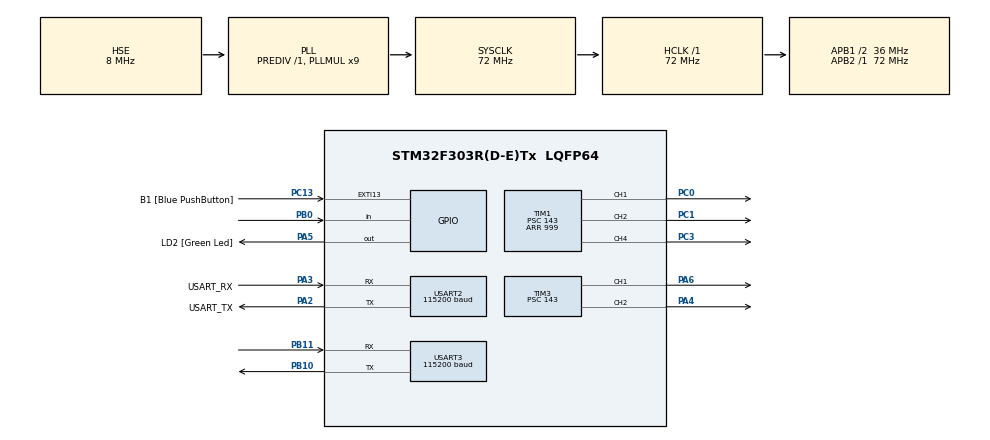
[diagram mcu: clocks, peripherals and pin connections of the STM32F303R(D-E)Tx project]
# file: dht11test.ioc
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Mcu.Family=STM32F3
Mcu.Name=STM32F303R(D-E)Tx
Mcu.Package=LQFP64
NVIC.PriorityGroup=NVIC_PRIORITYGROUP_0
NVIC.USART2_IRQn=true\:0\:0\:false\:false\:true\:true\:true
NVIC.USART3_IRQn=true\:0\:0\:false\:false\:true\:true\:true
PA13.GPIO_Label=TMS
PA13.Mode=Serial_Wire
PA13.Signal=SYS_JTMS-SWDIO
PA14.GPIO_Label=TCK
PA14.Mode=Serial_Wire
PA14.Signal=SYS_JTCK-SWCLK
PA2.GPIO_Label=USART_TX
PA2.GPIO_Mode=GPIO_MODE_AF_PP
PA2.GPIO_PuPd=GPIO_NOPULL
PA2.GPIO_Speed=GPIO_SPEED_FREQ_LOW
PA2.Mode=Asynchronous
PA2.Signal=USART2_TX
PA3.GPIO_Label=USART_RX
PA3.GPIO_Mode=GPIO_MODE_AF_PP
PA3.GPIO_PuPd=GPIO_NOPULL
PA3.GPIO_Speed=GPIO_SPEED_FREQ_LOW
PA3.Mode=Asynchronous
PA3.Signal=USART2_RX
PA4.Signal=S_TIM3_CH2
PA5.GPIO_Label=LD2 [Green Led]
PA5.GPIO_Mode=GPIO_MODE_OUTPUT_PP
PA5.GPIO_PuPd=GPIO_NOPULL
PA5.GPIO_Speed=GPIO_SPEED_FREQ_LOW
PA5.Signal=GPIO_Output
PA6.Signal=S_TIM3_CH1
PB0.Signal=GPIO_Input
PB10.Mode=Asynchronous
PB10.Signal=USART3_TX
PB11.Mode=Asynchronous
PB11.Signal=USART3_RX
PB3.GPIO_Label=SWO
PB3.Signal=SYS_JTDO-TRACESWO
PC0.Signal=S_TIM1_CH1
PC1.Signal=S_TIM1_CH2
PC13.GPIO_Label=B1 [Blue PushButton]
PC13.GPIO_ModeDefaultEXTI=GPIO_MODE_IT_FALLING
PC13.Signal=GPXTI13
PC14-OSC32_IN.Signal=RCC_OSC32_IN
PC15-OSC32_OUT.Signal=RCC_OSC32_OUT
PC3.Signal=S_TIM1_CH4
PF0-OSC_IN.Mode=HSE-External-Oscillator
PF0-OSC_IN.Signal=RCC_OSC_IN
PF1-OSC_OUT.Mode=HSE-External-Oscillator
PF1-OSC_OUT.Signal=RCC_OSC_OUT
ProjectManager.HeapSize=0x200
ProjectManager.StackSize=0x400
ProjectManager.TargetToolchain=SW4STM32
RCC.AHBFreq_Value=72000000
RCC.APB1CLKDivider=RCC_HCLK_DIV2
RCC.APB1Freq_Value=36000000
RCC.APB1TimFreq_Value=72000000
RCC.APB2Freq_Value=72000000
RCC.APB2TimFreq_Value=72000000
RCC.CortexFreq_Value=72000000
RCC.HCLKFreq_Value=72000000
RCC.HSE_VALUE=8000000
RCC.HSI_VALUE=8000000
RCC.LSE_VALUE=32768
RCC.PLLM=8
RCC.PLLMUL=RCC_PLL_MUL9
RCC.PLLN=336
RCC.PLLP=RCC_PLLP_DIV4
RCC.PLLQ=7
RCC.PLLSourceVirtual=RCC_PLLSOURCE_HSE
RCC.RCC_PLLsource_Clock_Source_FROM_HSE=RCC_HSE_PREDIV_DIV2
RCC.SYSCLKFreq_VALUE=72000000
RCC.SYSCLKSourceVirtual=RCC_SYSCLKSOURCE_PLLCLK
RCC.USBFreq_Value=72000000
SH.S_TIM1_CH1.0=TIM1_CH1,PWM Generation1 CH1
SH.S_TIM1_CH2.0=TIM1_CH2,PWM Generation2 CH2
SH.S_TIM1_CH4.0=TIM1_CH4,PWM Generation4 CH4
SH.S_TIM3_CH1.0=TIM3_CH1,PWM Generation1 CH1
SH.S_TIM3_CH2.0=TIM3_CH2,PWM Generation2 CH2
TIM1.Channel-PWM\ Generation1\ CH1=TIM_CHANNEL_1
TIM1.Channel-PWM\ Generation2\ CH2=TIM_CHANNEL_2
TIM1.Channel-PWM\ Generation4\ CH4=TIM_CHANNEL_4
TIM1.Period=999
TIM1.Prescaler=143
TIM3.Channel-PWM\ Generation1\ CH1=TIM_CHANNEL_1
TIM3.Channel-PWM\ Generation2\ CH2=TIM_CHANNEL_2
TIM3.Period=999
TIM3.Prescaler=143
USART2.BaudRate=115200
USART2.VirtualMode-Asynchronous=VM_ASYNC
USART3.BaudRate=115200
USART3.VirtualMode-Asynchronous=VM_ASYNC
board=NUCLEO-F303RE

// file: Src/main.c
/* USER CODE BEGIN Header */
/**
 ******************************************************************************
 * @file           : main.c
 * @brief          : Main program body
 ******************************************************************************
 * @attention
 *
 * <h2><center>&copy; Copyright (c) 2019 STMicroelectronics.
 * All rights reserved.</center></h2>
 *
 * This software component is licensed by ST under BSD 3-Clause license,
 * the "License"; You may not use this file except in compliance with the
 * License. You may obtain a copy of the License at:
 *                        opensource.org/licenses/BSD-3-Clause
 *
 ******************************************************************************
 */
/* USER CODE END Header */

#include "main.h"

/* USER CODE BEGIN Includes */
#include "stm32f3xx_hal.h"
#include "dwt_stm32_delay.h"
/* USER CODE END Includes */

TIM_HandleTypeDef htim1;
TIM_HandleTypeDef htim3;

UART_HandleTypeDef huart2;
UART_HandleTypeDef huart3;

/* USER CODE BEGIN PV */
uint8_t received;
uint8_t sensor_flag=1, engines_flag=0;//flaga pozwalajaca na wylaczenie odczytu z sensora 1 - odczyt wlaczony
uint16_t pwm_vf=750, pwm_vrl=750, pwm_vrr=750;//silniki pionowe PC0 PC1 PC3
uint16_t pwm_hl=750, pwm_hr=750;//silniki poziome PA4 PA6
uint8_t Rh_byte1, Rh_byte2, Temp_byte1, Temp_byte2;
uint16_t sum;
uint8_t check = 0;

GPIO_InitTypeDef GPIO_InitStruct;
/* USER CODE END PV */

void SystemClock_Config(void);
static void MX_GPIO_Init(void);
static void MX_USART2_UART_Init(void);
static void MX_TIM1_Init(void);
static void MX_TIM3_Init(void);
static void MX_USART3_UART_Init(void);
/* USER CODE BEGIN PFP */
void set_gpio_output (void);
void set_gpio_input (void);
void DHT11_start (void);
void check_response (void);
uint8_t read_data (void);
void send_char(char c);
int __io_putchar(int ch);
void HAL_UART_RxCpltCallback(UART_HandleTypeDef *huart);
void control_procedure(void);
void init_engines(void);
void set_engine_duty(uint8_t engine, uint16_t duty);
void manual(void);
void engines_manual(void);
void commands_manual(void);
void sensor_procedure(void);
void sensor_toggle(void);
void engines_stop(void);
void char_error(void);
/* USER CODE END PFP */

int main(void)
{

  /* MCU Configuration--------------------------------------------------------*/

  /* Reset of all peripherals, Initializes the Flash interface and the Systick. */
  HAL_Init();

  /* Configure the system clock */
  SystemClock_Config();

  /* Initialize all configured peripherals */
  MX_GPIO_Init();
  MX_USART2_UART_Init();
  MX_TIM1_Init();
  MX_TIM3_Init();
  MX_USART3_UART_Init();
  /* USER CODE BEGIN 2 */
	DWT_Delay_Init ();
	printf("Witaj w programie\n");
	manual();
	HAL_UART_Receive_IT(&huart2, &received, 1);
	HAL_UART_Receive_IT(&huart3, &received, 1);
	HAL_Delay (1000);
	init_engines();
  /* USER CODE END 2 */

  /* Infinite loop */
	while (1)
	{

    /* USER CODE BEGIN 3 */
		sensor_procedure();
		HAL_Delay(1200);
	}
  /* USER CODE END 3 */
}

void SystemClock_Config(void)
{
  RCC_OscInitTypeDef RCC_OscInitStruct = {0};
  RCC_ClkInitTypeDef RCC_ClkInitStruct = {0};
  RCC_PeriphCLKInitTypeDef PeriphClkInit = {0};

  /** Initializes the CPU, AHB and APB busses clocks
  */
  RCC_OscInitStruct.OscillatorType = RCC_OSCILLATORTYPE_HSE;
  RCC_OscInitStruct.HSEState = RCC_HSE_ON;
  RCC_OscInitStruct.HSIState = RCC_HSI_ON;
  RCC_OscInitStruct.PLL.PLLState = RCC_PLL_ON;
  RCC_OscInitStruct.PLL.PLLSource = RCC_PLLSOURCE_HSE;
  RCC_OscInitStruct.PLL.PLLMUL = RCC_PLL_MUL9;
  RCC_OscInitStruct.PLL.PREDIV = RCC_PREDIV_DIV1;
  if (HAL_RCC_OscConfig(&RCC_OscInitStruct) != HAL_OK)
  {
    Error_Handler();
  }
  /** Initializes the CPU, AHB and APB busses clocks
  */
  RCC_ClkInitStruct.ClockType = RCC_CLOCKTYPE_HCLK|RCC_CLOCKTYPE_SYSCLK
                              |RCC_CLOCKTYPE_PCLK1|RCC_CLOCKTYPE_PCLK2;
  RCC_ClkInitStruct.SYSCLKSource = RCC_SYSCLKSOURCE_PLLCLK;
  RCC_ClkInitStruct.AHBCLKDivider = RCC_SYSCLK_DIV1;
  RCC_ClkInitStruct.APB1CLKDivider = RCC_HCLK_DIV2;
  RCC_ClkInitStruct.APB2CLKDivider = RCC_HCLK_DIV1;

  if (HAL_RCC_ClockConfig(&RCC_ClkInitStruct, FLASH_LATENCY_2) != HAL_OK)
  {
    Error_Handler();
  }
  PeriphClkInit.PeriphClockSelection = RCC_PERIPHCLK_USART2|RCC_PERIPHCLK_USART3
                              |RCC_PERIPHCLK_TIM1|RCC_PERIPHCLK_TIM34;
  PeriphClkInit.Usart2ClockSelection = RCC_USART2CLKSOURCE_PCLK1;
  PeriphClkInit.Usart3ClockSelection = RCC_USART3CLKSOURCE_PCLK1;
  PeriphClkInit.Tim1ClockSelection = RCC_TIM1CLK_HCLK;
  PeriphClkInit.Tim34ClockSelection = RCC_TIM34CLK_HCLK;
  if (HAL_RCCEx_PeriphCLKConfig(&PeriphClkInit) != HAL_OK)
  {
    Error_Handler();
  }
}

static void MX_TIM1_Init(void)
{

  TIM_MasterConfigTypeDef sMasterConfig = {0};
  TIM_OC_InitTypeDef sConfigOC = {0};
  TIM_BreakDeadTimeConfigTypeDef sBreakDeadTimeConfig = {0};

  htim1.Instance = TIM1;
  htim1.Init.Prescaler = 143;
  htim1.Init.CounterMode = TIM_COUNTERMODE_UP;
  htim1.Init.Period = 999;
  htim1.Init.ClockDivision = TIM_CLOCKDIVISION_DIV1;
  htim1.Init.RepetitionCounter = 0;
  htim1.Init.AutoReloadPreload = TIM_AUTORELOAD_PRELOAD_DISABLE;
  if (HAL_TIM_PWM_Init(&htim1) != HAL_OK)
  {
    Error_Handler();
  }
  sMasterConfig.MasterOutputTrigger = TIM_TRGO_RESET;
  sMasterConfig.MasterOutputTrigger2 = TIM_TRGO2_RESET;
  sMasterConfig.MasterSlaveMode = TIM_MASTERSLAVEMODE_DISABLE;
  if (HAL_TIMEx_MasterConfigSynchronization(&htim1, &sMasterConfig) != HAL_OK)
  {
    Error_Handler();
  }
  sConfigOC.OCMode = TIM_OCMODE_PWM1;
  sConfigOC.Pulse = 0;
  sConfigOC.OCPolarity = TIM_OCPOLARITY_HIGH;
  sConfigOC.OCNPolarity = TIM_OCNPOLARITY_HIGH;
  sConfigOC.OCFastMode = TIM_OCFAST_DISABLE;
  sConfigOC.OCIdleState = TIM_OCIDLESTATE_RESET;
  sConfigOC.OCNIdleState = TIM_OCNIDLESTATE_RESET;
  if (HAL_TIM_PWM_ConfigChannel(&htim1, &sConfigOC, TIM_CHANNEL_1) != HAL_OK)
  {
    Error_Handler();
  }
  if (HAL_TIM_PWM_ConfigChannel(&htim1, &sConfigOC, TIM_CHANNEL_2) != HAL_OK)
  {
    Error_Handler();
  }
  if (HAL_TIM_PWM_ConfigChannel(&htim1, &sConfigOC, TIM_CHANNEL_4) != HAL_OK)
  {
    Error_Handler();
  }
  sBreakDeadTimeConfig.OffStateRunMode = TIM_OSSR_DISABLE;
  sBreakDeadTimeConfig.OffStateIDLEMode = TIM_OSSI_DISABLE;
  sBreakDeadTimeConfig.LockLevel = TIM_LOCKLEVEL_OFF;
  sBreakDeadTimeConfig.DeadTime = 0;
  sBreakDeadTimeConfig.BreakState = TIM_BREAK_DISABLE;
  sBreakDeadTimeConfig.BreakPolarity = TIM_BREAKPOLARITY_HIGH;
  sBreakDeadTimeConfig.BreakFilter = 0;
  sBreakDeadTimeConfig.Break2State = TIM_BREAK2_DISABLE;
  sBreakDeadTimeConfig.Break2Polarity = TIM_BREAK2POLARITY_HIGH;
  sBreakDeadTimeConfig.Break2Filter = 0;
  sBreakDeadTimeConfig.AutomaticOutput = TIM_AUTOMATICOUTPUT_DISABLE;
  if (HAL_TIMEx_ConfigBreakDeadTime(&htim1, &sBreakDeadTimeConfig) != HAL_OK)
  {
    Error_Handler();
  }
  HAL_TIM_MspPostInit(&htim1);

}

static void MX_TIM3_Init(void)
{

  TIM_MasterConfigTypeDef sMasterConfig = {0};
  TIM_OC_InitTypeDef sConfigOC = {0};

  htim3.Instance = TIM3;
  htim3.Init.Prescaler = 143;
  htim3.Init.CounterMode = TIM_COUNTERMODE_UP;
  htim3.Init.Period = 999;
  htim3.Init.ClockDivision = TIM_CLOCKDIVISION_DIV1;
  htim3.Init.AutoReloadPreload = TIM_AUTORELOAD_PRELOAD_DISABLE;
  if (HAL_TIM_PWM_Init(&htim3) != HAL_OK)
  {
    Error_Handler();
  }
  sMasterConfig.MasterOutputTrigger = TIM_TRGO_RESET;
  sMasterConfig.MasterSlaveMode = TIM_MASTERSLAVEMODE_DISABLE;
  if (HAL_TIMEx_MasterConfigSynchronization(&htim3, &sMasterConfig) != HAL_OK)
  {
    Error_Handler();
  }
  sConfigOC.OCMode = TIM_OCMODE_PWM1;
  sConfigOC.Pulse = 0;
  sConfigOC.OCPolarity = TIM_OCPOLARITY_HIGH;
  sConfigOC.OCFastMode = TIM_OCFAST_DISABLE;
  if (HAL_TIM_PWM_ConfigChannel(&htim3, &sConfigOC, TIM_CHANNEL_1) != HAL_OK)
  {
    Error_Handler();
  }
  if (HAL_TIM_PWM_ConfigChannel(&htim3, &sConfigOC, TIM_CHANNEL_2) != HAL_OK)
  {
    Error_Handler();
  }
  HAL_TIM_MspPostInit(&htim3);

}

static void MX_USART2_UART_Init(void)
{

  huart2.Instance = USART2;
  huart2.Init.BaudRate = 115200;
  huart2.Init.WordLength = UART_WORDLENGTH_8B;
  huart2.Init.StopBits = UART_STOPBITS_1;
  huart2.Init.Parity = UART_PARITY_NONE;
  huart2.Init.Mode = UART_MODE_TX_RX;
  huart2.Init.HwFlowCtl = UART_HWCONTROL_NONE;
  huart2.Init.OverSampling = UART_OVERSAMPLING_16;
  huart2.Init.OneBitSampling = UART_ONE_BIT_SAMPLE_DISABLE;
  huart2.AdvancedInit.AdvFeatureInit = UART_ADVFEATURE_NO_INIT;
  if (HAL_UART_Init(&huart2) != HAL_OK)
  {
    Error_Handler();
  }

}

static void MX_USART3_UART_Init(void)
{

  huart3.Instance = USART3;
  huart3.Init.BaudRate = 115200;
  huart3.Init.WordLength = UART_WORDLENGTH_8B;
  huart3.Init.StopBits = UART_STOPBITS_1;
  huart3.Init.Parity = UART_PARITY_NONE;
  huart3.Init.Mode = UART_MODE_TX_RX;
  huart3.Init.HwFlowCtl = UART_HWCONTROL_NONE;
  huart3.Init.OverSampling = UART_OVERSAMPLING_16;
  huart3.Init.OneBitSampling = UART_ONE_BIT_SAMPLE_DISABLE;
  huart3.AdvancedInit.AdvFeatureInit = UART_ADVFEATURE_NO_INIT;
  if (HAL_UART_Init(&huart3) != HAL_OK)
  {
    Error_Handler();
  }

}

static void MX_GPIO_Init(void)
{
  GPIO_InitTypeDef GPIO_InitStruct = {0};

  /* GPIO Ports Clock Enable */
  __HAL_RCC_GPIOC_CLK_ENABLE();
  __HAL_RCC_GPIOF_CLK_ENABLE();
  __HAL_RCC_GPIOA_CLK_ENABLE();
  __HAL_RCC_GPIOB_CLK_ENABLE();

  /*Configure GPIO pin Output Level */
  HAL_GPIO_WritePin(LD2_GPIO_Port, LD2_Pin, GPIO_PIN_RESET);

  /*Configure GPIO pin : B1_Pin */
  GPIO_InitStruct.Pin = B1_Pin;
  GPIO_InitStruct.Mode = GPIO_MODE_IT_FALLING;
  GPIO_InitStruct.Pull = GPIO_NOPULL;
  HAL_GPIO_Init(B1_GPIO_Port, &GPIO_InitStruct);

  /*Configure GPIO pin : LD2_Pin */
  GPIO_InitStruct.Pin = LD2_Pin;
  GPIO_InitStruct.Mode = GPIO_MODE_OUTPUT_PP;
  GPIO_InitStruct.Pull = GPIO_NOPULL;
  GPIO_InitStruct.Speed = GPIO_SPEED_FREQ_LOW;
  HAL_GPIO_Init(LD2_GPIO_Port, &GPIO_InitStruct);

  /*Configure GPIO pin : PB0 */
  GPIO_InitStruct.Pin = GPIO_PIN_0;
  GPIO_InitStruct.Mode = GPIO_MODE_INPUT;
  GPIO_InitStruct.Pull = GPIO_NOPULL;
  HAL_GPIO_Init(GPIOB, &GPIO_InitStruct);

}

/* USER CODE BEGIN 4 */
void set_gpio_output (void)
{
	/*Configure GPIO pin output: PA2 */
	GPIO_InitStruct.Pin = GPIO_PIN_0;
	GPIO_InitStruct.Mode = GPIO_MODE_OUTPUT_PP;
	GPIO_InitStruct.Speed = GPIO_SPEED_FREQ_LOW;
	HAL_GPIO_Init(GPIOB, &GPIO_InitStruct);
}

void set_gpio_input (void)
{
	/*Configure GPIO pin input: PA2 */
	GPIO_InitStruct.Pin = GPIO_PIN_0;
	GPIO_InitStruct.Mode = GPIO_MODE_INPUT;
	GPIO_InitStruct.Pull = GPIO_NOPULL;
	HAL_GPIO_Init(GPIOB, &GPIO_InitStruct);
}

void DHT11_start (void)
{
	set_gpio_output ();  // set the pin as output
	HAL_GPIO_WritePin (GPIOB, GPIO_PIN_0, 0);   // pull the pin low
	DWT_Delay_us (18000);   // wait for 18ms
	set_gpio_input ();   // set as input
}

void check_response (void)
{
	DWT_Delay_us (40);
	if (!(HAL_GPIO_ReadPin (GPIOB, GPIO_PIN_0)))  // if the pin is low
	{
		DWT_Delay_us (80);  // wait for 80us
		if ((HAL_GPIO_ReadPin (GPIOB, GPIO_PIN_0))) check = 1;  // now if the pin is high response = ok i.e. check =1
	}
	while ((HAL_GPIO_ReadPin (GPIOB, GPIO_PIN_0)));   // wait for the pin to go low
}

uint8_t read_data (void)
{
	uint8_t i=0,j=0;
	for (j=0;j<8;j++)
	{
		while (!(HAL_GPIO_ReadPin (GPIOB, GPIO_PIN_0)));   // wait for the pin to go high
		DWT_Delay_us (40);   // wait for 40 us
		if ((HAL_GPIO_ReadPin (GPIOB, GPIO_PIN_0)) == 0)   // if the pin is low
		{
			i&= ~(1<<(7-j));   // write 0
		}
		else i|= (1<<(7-j));  // if the pin is high, write 1
		while ((HAL_GPIO_ReadPin (GPIOB, GPIO_PIN_0)));  // wait for the pin to go low
	}
	return i;
}
void send_char(char c){
	HAL_GPIO_WritePin(LD2_GPIO_Port,LD2_Pin, GPIO_PIN_SET);
	HAL_UART_Transmit(&huart2, (uint8_t*)&c, 1, 1);
	HAL_UART_Transmit(&huart3, (uint8_t*)&c, 1, 1);
	HAL_GPIO_WritePin(LD2_GPIO_Port,LD2_Pin, GPIO_PIN_RESET);
}
int __io_putchar(int ch){
	if (ch == '\n'){
		send_char('\r');
	}
	send_char(ch);
	return ch;
}
void HAL_UART_RxCpltCallback(UART_HandleTypeDef *huart)
{
	control_procedure();
	if(huart->Instance==USART2){
		HAL_UART_Receive_IT(&huart2, &received, 1);
	} else if(huart->Instance==USART3){
		HAL_UART_Receive_IT(&huart3, &received, 1);
	}
}
void control_procedure(void){
	static uint8_t index=0, command=0;
	static uint16_t duty=0;
	uint8_t value=received;
	switch(index){
	case 0:
		if(value=='s'){
			engines_stop();
		} else if(value=='?'){
			manual();
		} else if(value=='c'){
			sensor_toggle();
		} else if(value=='v'||value=='h'||(value>='1'&&value<='5')){
			if(engines_flag==0){
				printf("Silniki jeszcze nie sa gotowe.\n");
			} else{
				command=value;
				printf("Podaj wypelnienie\n");
				index=1;
			}
		} else{
			printf("Niewlasciwa komenda.\n");
			commands_manual();
		}
		break;
	case 1:
		if(value=='s'){
			engines_stop();
		} else if(value=='?'){
			manual();
		} else if(value=='c'){
			sensor_toggle();
		} else if(value<'5'||value>'9'){
			printf("Niewlasciwy znak.\n");
			printf("Obslugiwane wypelnienie 50-99%%.\n");
		} else{
			duty=(value-'0')*100;
			index=2;
		}
		break;
	case 2:
		if(value=='s'){
			engines_stop();
		} else if(value=='?'){
			manual();
		} else if(value=='c'){
			sensor_toggle();
		} else if(value<'0'||value>'9'){
			index=1;
			printf("Niewlasciwy znak.\n");
			printf("Obslugiwane wypelnienie 50-99%%.\n");
		} else{
			duty+=(value-'0')*10;
			index=3;
		}
		break;
	case 3:
		if(value=='s'){
			engines_stop();
		} else if(value=='?'){
			manual();
		} else if(value=='c'){
			sensor_toggle();
		} else if(value<'0'||value>'9'){
			index=1;
			char_error();
		} else{
			duty+=(value-'0');
			switch(command){
			case 'v':
				set_engine_duty(1,duty);
				set_engine_duty(2, duty);
				set_engine_duty(3, duty);
				break;
			case 'h':
				set_engine_duty(4, duty);
				set_engine_duty(5, duty);
				break;
			case '1':
				set_engine_duty(1,duty);
				break;
			case '2':
				set_engine_duty(2, duty);
				break;
			case '3':
				set_engine_duty(3, duty);
				break;
			case '4':
				set_engine_duty(4, duty);
				break;
			case '5':
				set_engine_duty(5, duty);
				break;
			}
			index=0;
		}
		break;
	}
}
void sensor_procedure(void){
	if(sensor_flag){
		DHT11_start ();
		check_response ();
		Rh_byte1 = read_data ();
		Rh_byte2 = read_data ();
		Temp_byte1 = read_data ();
		Temp_byte2 = read_data ();
		sum = read_data();
		if (sum == (Rh_byte1+Rh_byte2+Temp_byte1+Temp_byte2)){    // if the data is correct
			printf("RH: %2d %% \t T: %2d *C \n", Rh_byte1, Temp_byte1);
		}
	}
}
/**
 * inicjalizacja silnikow
 */
void init_engines(void){
	uint16_t duty=750;
	printf("Zbrojenie silnika vf.\n");
	HAL_TIM_PWM_Start(&htim1, TIM_CHANNEL_1);
	pwm_vf=duty;
	TIM1->CCR1=pwm_vf;
	sensor_procedure();
	HAL_Delay(2000);
	printf("Silnik vf jest uzbrojony.\n");
	printf("Zbrojenie silnika vrl.\n");
	HAL_TIM_PWM_Start(&htim1, TIM_CHANNEL_2);
	pwm_vrl=duty;
	TIM1->CCR2=pwm_vrl;
	sensor_procedure();
	HAL_Delay(2000);
	printf("Silnik vrl jest uzbrojony.\n");
	printf("Zbrojenie silnika vrr.\n");
	HAL_TIM_PWM_Start(&htim1, TIM_CHANNEL_4);
	pwm_vrr=duty;
	TIM1->CCR4=pwm_vrr;
	sensor_procedure();
	HAL_Delay(2000);
	printf("Silnik vrr jest uzbrojony.\n");
	printf("Zbrojenie silnika hl.\n");
	HAL_TIM_PWM_Start(&htim3, TIM_CHANNEL_2);
	pwm_hl=duty;
	TIM3->CCR2=pwm_hl;
	sensor_procedure();
	HAL_Delay(2000);
	printf("Silnik hl jest uzbrojony.\n");
	printf("Zbrojenie silnika hr.\n");
	HAL_TIM_PWM_Start(&htim3, TIM_CHANNEL_1);
	pwm_hr=duty;
	TIM3->CCR1=pwm_hr;
	sensor_procedure();
	HAL_Delay(2000);
	printf("Silnik hr jest uzbrojony.\n");
	engines_flag=1;
	printf("Silniki gotowe.\n");
}
/**
 * ustawianie wypelnienia silnikow
 */
void set_engine_duty(uint8_t engine, uint16_t duty){
	if(duty<550){
		duty=550;
	} else if(duty>950){
		duty=950;
	}
	switch(engine){
	case 1:
		pwm_vf=duty;
		TIM1->CCR1=pwm_vf;
		printf("engine vf PWM=%3d\n",pwm_vf);
		break;
	case 2:
		pwm_vrl=duty;
		TIM1->CCR2=pwm_vrl;
		printf("engine vrl PWM=%3d\n",pwm_vrl);
		break;
	case 3:
		pwm_vrr=duty;
		TIM1->CCR4=pwm_vrr;
		printf("engine vrr PWM=%3d\n",pwm_vrr);
		break;
	case 4:
		pwm_hl=duty;
		TIM3->CCR2=pwm_hl;
		printf("engine hl PWM=%3d\n",pwm_hl);
		break;
	case 5:
		pwm_hr=duty;
		TIM3->CCR1=pwm_hr;
		printf("engine hr PWM=%3d\n",pwm_hl);
		break;
	}
}
void manual(void){
	engines_manual();
	commands_manual();
}
/**
 * funkcja wyswietlajaca oznaczenia silnikow wg pinow
 */
void engines_manual(void){
	printf("Oznaczenia silnikow:\n");
	printf("vf - PC0\t");
	printf("vrl - PC1\t");
	printf("vrr - PC3\n");
	printf("hl - PA4\t");
	printf("hr - PA6\n\n");
}
/**
 * funkcja wyswietlajaca obslugiwane komendy
 */
void commands_manual(void){
	printf("Obslugiwane komendy to:\n");
	printf("? - instrukcja\n");
	printf("c - wlaczenie lub wylaczenie odczytow z czujnika\n");
	printf("s - zatrzymanie wszystkich silnikow\n");
	printf("v - sterowanie silnikami pionowymi\n");
	printf("h - sterowanie silnikami poziomymi\n");
	printf("1 - sterowanie silnikiem vf\n");
	printf("2 - sterowanie silnikiem vrl\n");
	printf("3 - sterowanie silnikiem vrr\n");
	printf("4 - sterowanie silnikiem hl\n");
	printf("5 - sterowanie silnikiem hr\n\n\n");
}
void sensor_toggle(void){
	if(sensor_flag==1){
		sensor_flag=0;
		printf("Odczyt z czujnika wylaczony.\n");
	} else if(sensor_flag==0){
		sensor_flag=1;
		printf("Odczyt z czujnika wlaczony.\n");
	}
}
void engines_stop(void){
	uint16_t duty=750;
	set_engine_duty(1,duty);
	set_engine_duty(2, duty);
	set_engine_duty(3, duty);
	set_engine_duty(4, duty);
	set_engine_duty(5, duty);
}
void char_error(void){
	printf("Niewlasciwy znak.\n");
	printf("Obslugiwane wypelnienie 550-990.\n");
}
/* USER CODE END 4 */

void Error_Handler(void)
{
}

/************************ (C) COPYRIGHT STMicroelectronics *****END OF FILE****/
